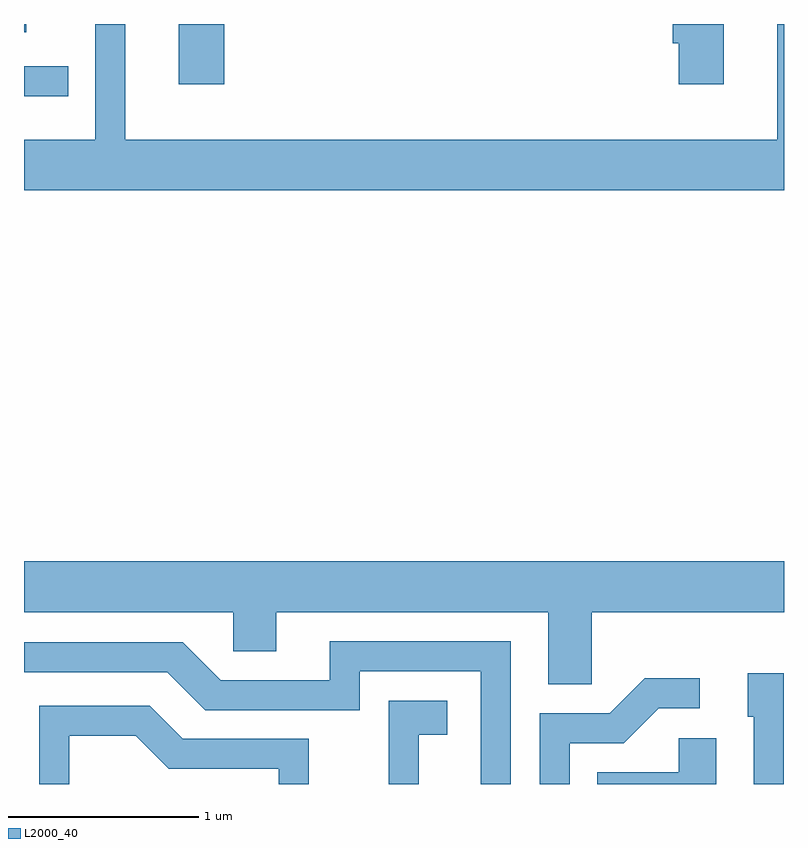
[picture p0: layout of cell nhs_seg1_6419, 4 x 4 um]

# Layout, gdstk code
import gdstk
lib = gdstk.Library(unit=1e-6, precision=1e-09)
def R(c, l, rs):  # rectangles x0, y0, x1, y1
    for r in rs: c.add(gdstk.rectangle(r[:2], r[2:], *l))
def P(c, l, *ps):  # polygons
    for p in ps: c.add(gdstk.Polygon(p, *l))
L2000_40 = (2000, 40)

nhs_seg1_6419 = lib.new_cell('nhs_seg1_6419')
R(nhs_seg1_6419, L2000_40, [(377.611,973.331,377.843,973.489), (378.426,973.396,378.664,973.712), (377.611,973.668,377.624,973.712)])
P(nhs_seg1_6419, L2000_40, [(381.611,973.712),(381.576,973.712),(381.576,973.104),(378.144,973.104),(378.144,973.712),(377.986,973.712),(377.986,973.104),(377.611,973.104),(377.611,972.836),(381.611,972.836)],
  [(381.294,973.712),(381.026,973.712),(381.026,973.611),(381.056,973.611),(381.056,973.396),(381.294,973.396)],
  [(380.599,970.616),(381.611,970.616),(381.611,970.884),(377.611,970.884),(377.611,970.616),(378.711,970.616),(378.711,970.411),(378.939,970.411),(378.939,970.616),(380.371,970.616),(380.371,970.236),(380.599,970.236)],
  [(380.174,970.464),(379.221,970.464),(379.221,970.259),(378.647,970.259),(378.447,970.459),(377.611,970.459),(377.611,970.301),(378.364,970.301),(378.564,970.101),(379.379,970.101),(379.379,970.306),(380.016,970.306),(380.016,969.712),(380.174,969.712)],
  [(381.609,970.294),(381.421,970.294),(381.421,970.066),(381.451,970.066),(381.451,969.712),(381.609,969.712)],
  [(380.484,969.926),(380.767,969.926),(380.952,970.111),(381.168,970.111),(381.168,970.269),(380.879,970.269),(380.694,970.084),(380.326,970.084),(380.326,969.712),(380.484,969.712)],
  [(379.689,969.971),(379.839,969.971),(379.839,970.149),(379.531,970.149),(379.531,969.712),(379.689,969.712)],
  [(377.849,969.966),(378.199,969.966),(378.374,969.791),(378.951,969.791),(378.951,969.712),(379.109,969.712),(379.109,969.949),(378.447,969.949),(378.272,970.124),(377.691,970.124),(377.691,969.712),(377.849,969.712)],
  [(381.254,969.954),(381.056,969.954),(381.056,969.774),(380.628,969.774),(380.628,969.712),(381.254,969.712)])

lib.write_gds('nhs_seg1_6419.gds')
